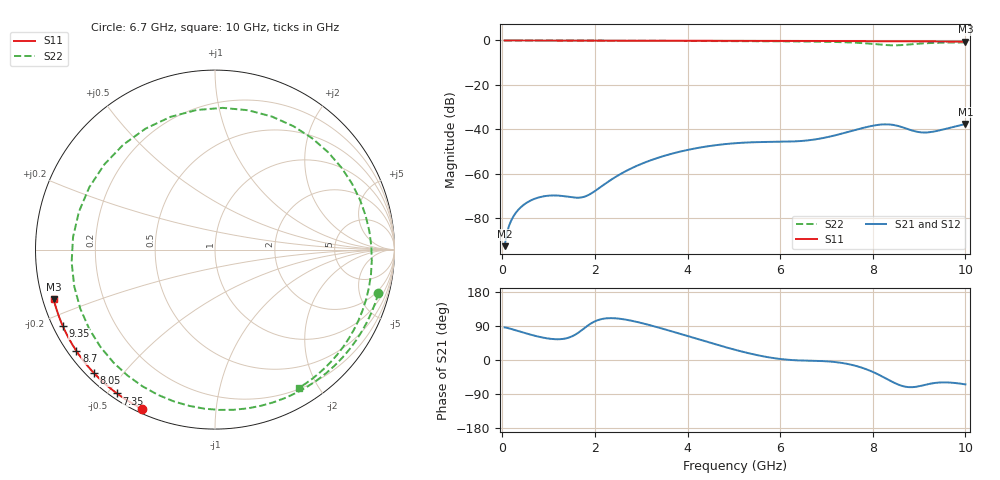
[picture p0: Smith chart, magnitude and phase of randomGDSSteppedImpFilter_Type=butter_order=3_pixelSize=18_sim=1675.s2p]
! freq	dB(S11)	phase(S11)	dB(S12)	phase(S12)
!  dB(S21)	phase(S21)	dB(S22)	phase(S22)
!S-par simulation data
#  GHz  S  DB  R 50
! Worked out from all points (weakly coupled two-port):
!   200 points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, 50 MHz to 10 GHz, reference 50 ohm
!   highest |S21| = -37.66 dB at 10 GHz (marker M1); lowest = -92.7 dB at 50 MHz (marker M2)
!   lowest |S11| = -0.5 dB at 10 GHz (marker M3), VSWR 32.54, Z = 1.57 - j7.49 ohm
!   |S11| at or under -10 dB: nowhere
!   |S22| runs from -2.2 to 0.0 dB; largest |S21 - S12| = 0
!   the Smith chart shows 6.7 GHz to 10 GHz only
!   S11 on the Smith chart (normalised r, x): 6.7 GHz: 0.02, -0.64; 7.35 GHz: 0.02, -0.53; 8.05 GHz: 0.02, -0.42; 8.7 GHz: 0.02, -0.33; 9.35 GHz: 0.03, -0.24; 10 GHz: 0.03, -0.15
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0.05  -0.00 -1.0  -92.71 86.0  -92.71 86.0  -0.00 -3.1
0.2  -0.01 -3.8  -80.83 81.6  -80.83 81.6  -0.01 -12.3
0.45  -0.01 -8.6  -74.28 72.5  -74.28 72.5  -0.03 -27.6
0.95  -0.02 -18.0  -70.06 57.5  -70.06 57.5  -0.07 -57.3
1.75  -0.04 -32.9  -70.56 81.9  -70.56 81.9  -0.12 -101.9
2.6  -0.06 -48.3  -59.64 107.8  -59.64 107.8  -0.16 -145.5
3.4  -0.08 -62.2  -52.63 84.7  -52.63 84.7  -0.19 174.9
4.15  -0.10 -74.9  -48.71 57.8  -48.71 57.8  -0.24 137.0
5.05  -0.14 -89.4  -46.28 26.2  -46.28 26.2  -0.30 88.0
5.5  -0.16 -96.5  -45.83 13.0  -45.83 13.0  -0.34 61.7
6  -0.18 -104.2  -45.67 2.7  -45.67 2.7  -0.39 31.0
6.7  -0.22 -114.7  -44.77 -2.1  -44.77 -2.1  -0.51 -15.0
7.35  -0.27 -124.3  -41.88 -8.1  -41.88 -8.1  -0.78 -64.7
7.75  -0.30 -130.1  -39.63 -19.7  -39.63 -19.7  -1.15 -105.2
8.05  -0.32 -134.5  -38.24 -34.2  -38.24 -34.2  -1.63 -147.7
8.2  -0.34 -136.6  -37.86 -43.3  -37.86 -43.3  -1.92 -175.0
8.35  -0.35 -138.8  -37.84 -53.0  -37.84 -53.0  -2.14 153.6
8.55  -0.37 -141.7  -38.55 -64.8  -38.55 -64.8  -2.16 108.5
8.7  -0.39 -143.9  -39.54 -70.4  -39.54 -70.4  -1.96 76.6
9  -0.42 -148.2  -41.31 -69.2  -41.31 -69.2  -1.44 25.8
9.35  -0.46 -153.3  -40.94 -60.4  -40.94 -60.4  -1.08 -13.7
10  -0.53 -162.9  -37.66 -64.3  -37.66 -64.3  -0.90 -58.6
